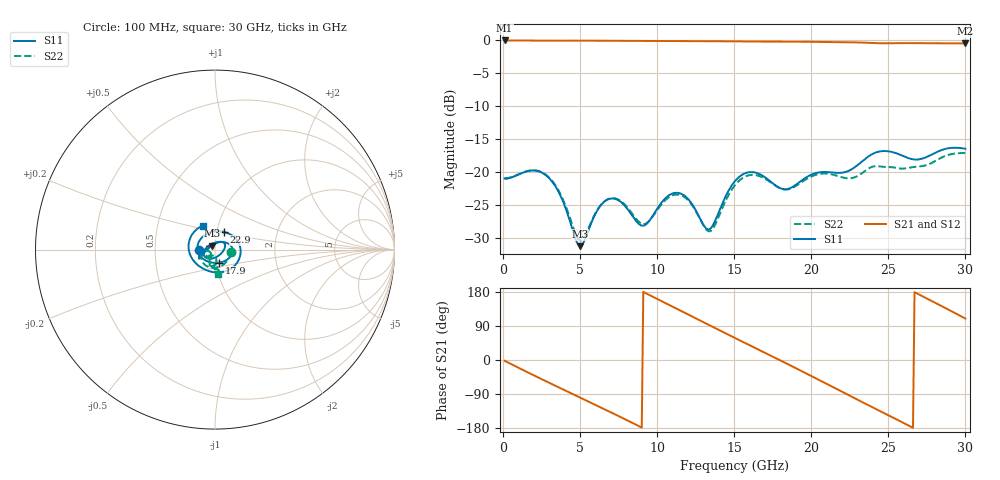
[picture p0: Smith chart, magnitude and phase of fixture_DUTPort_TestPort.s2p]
# Hz S MA R 50.0
!freq magS11 angS11 magS21 angS21 magS12 angS12 magS22 angS22
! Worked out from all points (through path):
!   300 points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, 100 MHz to 30 GHz, reference 50 ohm
!   highest |S21| = -0.04 dB at 100 MHz (marker M1); lowest = -0.5 dB at 30 GHz (marker M2)
!   group delay of S21, straight-line fit = 56.5 ps
!   lowest |S11| = -31.3 dB at 5 GHz (marker M3), VSWR 1.06, Z = 48.4 + j2.16 ohm
!   |S11| at or under -10 dB: start of sweep to end of sweep
!   |S22| runs from -30.4 to -17.1 dB; largest |S21 - S12| = 1.6e-15
!   S11 on the Smith chart (normalised r, x): 100 MHz: 0.84, -0.00; 17.9 GHz: 1.04, -0.15; 22.9 GHz: 1.08, +0.22; 30 GHz: 0.84, +0.23
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1e8  0.08928 -179.4  0.9957 -2.1  0.9957 -2.1  0.08991 -8.2
1.4e9  0.1 -153.7  0.9926 -28.6  0.9926 -28.6  0.1002 -82.8
2.9e9  0.09192 -152.2  0.9912 -58.4  0.9912 -58.4  0.09289 -143.9
5e9  0.02738 125.4  0.9926 -99.2  0.9926 -99.2  0.03029 -146.5
5.1e9  0.02773 114.9  0.9925 -101.2  0.9925 -101.2  0.03042 -140.8
6.5e9  0.05859 46.1  0.9898 -128.4  0.9898 -128.4  0.05884 -125.6
7.8e9  0.05705 14.3  0.9885 -154.1  0.9885 -154.1  0.0581 -144.1
9e9  0.03918 -47.2  0.9879 -178.4  0.9879 -178.4  0.04053 -133.6
1.01e10  0.0548 -112.6  0.986 159.0  0.986 159.0  0.05343 -113.3
1.14e10  0.0693 -151.8  0.9838 132.3  0.9838 132.3  0.06729 -125.8
1.27e10  0.04633 161.7  0.9837 105.7  0.9837 105.7  0.04591 -133.5
1.35e10  0.03767 97.5  0.9831 89.4  0.9831 89.4  0.0359 -104.4
1.51e10  0.08658 19.0  0.9787 57.2  0.9787 57.2  0.08083 -87.1
1.66e10  0.09693 -19.8  0.9763 27.2  0.9763 27.2  0.09343 -106.8
1.79e10  0.07628 -71.7  0.9767 0.9  0.9767 0.9  0.07606 -108.3
2.01e10  0.09656 -176.5  0.9718 -44.3  0.9718 -44.3  0.09355 -94.1
2.15e10  0.09879 130.1  0.9672 -73.3  0.9672 -73.3  0.09496 -98.8
2.29e10  0.1104 63.1  0.9626 -102.6  0.9626 -102.6  0.09202 -89.6
2.51e10  0.143 -31.2  0.9484 -147.7  0.9484 -147.7  0.109 -91.0
2.63e10  0.1275 -85.5  0.9508 -172.7  0.9508 -172.7  0.1074 -86.7
2.75e10  0.1303 -142.4  0.9485 162.3  0.9485 162.3  0.113 -81.3
3e10  0.1503 117.1  0.9452 109.4  0.9452 109.4  0.1396 -82.7
